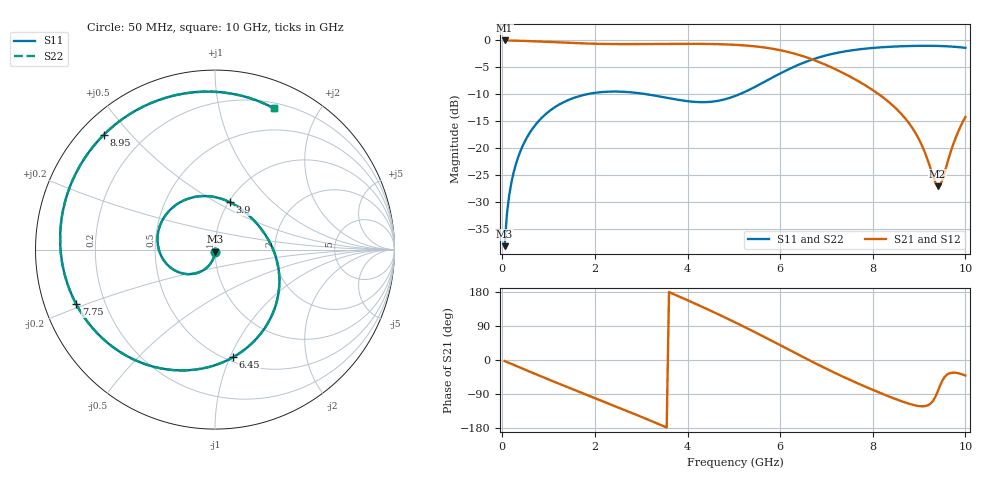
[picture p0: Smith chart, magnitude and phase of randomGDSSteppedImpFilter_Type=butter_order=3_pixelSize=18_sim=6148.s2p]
! freq	dB(S11)	phase(S11)	dB(S12)	phase(S12)
!  dB(S21)	phase(S21)	dB(S22)	phase(S22)
!S-par simulation data
#  GHz  S  DB  R 50
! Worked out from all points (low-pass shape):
!   200 points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, 50 MHz to 10 GHz, reference 50 ohm
!   highest |S21| = 0.00 dB at 50 MHz (marker M1); lowest = -27.0 dB at 9.4 GHz (marker M2)
!   |S21| within 3 dB of the highest: start of sweep to 6.521 GHz
!   lowest |S11| = -38.2 dB at 50 MHz (marker M3), VSWR 1.03, Z = 49.9 - j1.23 ohm
!   |S11| at or under -10 dB: start of sweep to 1.819 GHz; 3.13 GHz to 5.117 GHz (1.987 GHz wide, 48.2 % of centre)
!   |S22| runs from -38.2 to -1.0 dB; largest |S21 - S12| = 0
!   S11 on the Smith chart (normalised r, x): 50 MHz: 1.00, -0.02; 3.9 GHz: 1.01, +0.58; 6.45 GHz: 0.54, -1.03; 7.75 GHz: 0.10, -0.19; 8.95 GHz: 0.07, +0.42; 10 GHz: 0.26, +1.47
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0.05  -38.16 -92.3  -0.00 -2.7  -0.00 -2.7  -38.16 -92.4
0.1  -32.16 -95.1  -0.01 -5.3  -0.01 -5.3  -32.16 -95.1
0.2  -26.21 -100.5  -0.03 -10.5  -0.03 -10.5  -26.21 -100.6
0.5  -18.51 -116.5  -0.10 -26.0  -0.10 -26.0  -18.51 -116.5
1.15  -12.30 -149.5  -0.34 -58.9  -0.34 -58.9  -12.30 -149.6
1.75  -10.13 -179.0  -0.55 -88.4  -0.55 -88.4  -10.13 -179.1
2.55  -9.50 142.1  -0.68 -127.4  -0.68 -127.4  -9.50 141.9
3.4  -10.40 99.3  -0.65 -170.4  -0.65 -170.4  -10.40 99.0
3.9  -11.15 72.9  -0.62 163.2  -0.62 163.2  -11.15 72.5
4.55  -11.34 36.9  -0.67 127.1  -0.67 127.1  -11.34 36.5
5.05  -10.23 7.7  -0.83 98.0  -0.83 98.0  -10.23 7.4
5.45  -8.64 -16.7  -1.09 73.8  -1.09 73.8  -8.64 -16.9
5.85  -6.81 -41.9  -1.56 48.7  -1.56 48.7  -6.80 -42.1
6.45  -4.33 -80.4  -2.81 10.6  -2.81 10.6  -4.32 -80.4
6.7  -3.52 -96.2  -3.54 -5.1  -3.54 -5.1  -3.52 -96.2
7.2  -2.36 -126.8  -5.36 -35.0  -5.36 -35.0  -2.36 -126.7
7.75  -1.61 -158.6  -7.87 -65.7  -7.87 -65.7  -1.61 -158.5
8.35  -1.18 167.9  -11.45 -96.3  -11.45 -96.3  -1.18 168.0
8.95  -1.01 134.0  -17.58 -120.6  -17.58 -120.6  -1.01 134.1
9.4  -1.02 106.9  -27.05 -83.7  -27.05 -83.7  -1.02 107.1
9.7  -1.14 87.6  -20.20 -33.8  -20.20 -33.8  -1.14 87.8
10  -1.38 67.2  -14.20 -40.9  -14.20 -40.9  -1.38 67.4
